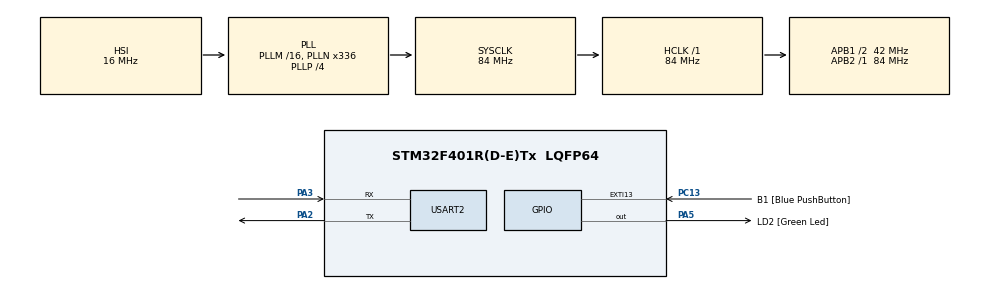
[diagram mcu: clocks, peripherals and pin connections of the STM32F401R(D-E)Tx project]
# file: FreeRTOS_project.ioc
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Mcu.Family=STM32F4
Mcu.Name=STM32F401R(D-E)Tx
Mcu.Package=LQFP64
NVIC.PriorityGroup=NVIC_PRIORITYGROUP_4
NVIC.TIM5_IRQn=true\:0\:0\:false\:false\:true\:false\:true\:true
NVIC.TimeBase=TIM5_IRQn
NVIC.TimeBaseIP=TIM5
PA13.GPIO_Label=TMS
PA13.Signal=SYS_JTMS-SWDIO
PA14.GPIO_Label=TCK
PA14.Signal=SYS_JTCK-SWCLK
PA2.GPIO_PuPd=GPIO_PULLUP
PA2.Mode=Asynchronous
PA2.Signal=USART2_TX
PA3.GPIO_ModeDefaultPP=GPIO_MODE_AF_PP
PA3.GPIO_PuPd=GPIO_PULLUP
PA3.Mode=Asynchronous
PA3.Signal=USART2_RX
PA5.GPIO_Label=LD2 [Green Led]
PA5.GPIO_Mode=GPIO_MODE_OUTPUT_PP
PA5.GPIO_PuPd=GPIO_NOPULL
PA5.GPIO_Speed=GPIO_SPEED_FREQ_LOW
PA5.Signal=GPIO_Output
PB3.GPIO_Label=SWO
PB3.Signal=SYS_JTDO-SWO
PC13-ANTI_TAMP.GPIO_Label=B1 [Blue PushButton]
PC13-ANTI_TAMP.GPIO_ModeDefaultEXTI=GPIO_MODE_IT_FALLING
PC13-ANTI_TAMP.GPIO_PuPd=GPIO_NOPULL
PC13-ANTI_TAMP.Signal=GPXTI13
PC14-OSC32_IN.Signal=RCC_OSC32_IN
PC15-OSC32_OUT.Signal=RCC_OSC32_OUT
PH0\ -\ OSC_IN.Signal=RCC_OSC_IN
PH1\ -\ OSC_OUT.Signal=RCC_OSC_OUT
ProjectManager.HeapSize=0x200
ProjectManager.StackSize=0x400
ProjectManager.TargetToolchain=STM32CubeIDE
RCC.AHBFreq_Value=84000000
RCC.APB1CLKDivider=RCC_HCLK_DIV2
RCC.APB1Freq_Value=42000000
RCC.APB1TimFreq_Value=84000000
RCC.APB2Freq_Value=84000000
RCC.APB2TimFreq_Value=84000000
RCC.CortexFreq_Value=84000000
RCC.HCLKFreq_Value=84000000
RCC.HSE_VALUE=8000000
RCC.HSI_VALUE=16000000
RCC.LSE_VALUE=32768
RCC.PLLN=336
RCC.PLLP=RCC_PLLP_DIV4
RCC.PLLQ=7
RCC.SYSCLKFreq_VALUE=84000000
RCC.SYSCLKSource=RCC_SYSCLKSOURCE_PLLCLK
RCC.VCOOutputFreq_Value=336000000
USART2.VirtualMode=VM_ASYNC
VP_SYS_VS_tim5.Mode=TIM5
board=NUCLEO-F401RE

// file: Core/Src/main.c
/* USER CODE BEGIN Header */
/**
  ******************************************************************************
  * @file           : main.c
  * @brief          : Main program body
  ******************************************************************************
  * @attention
  *
  * Copyright (c) 2023 STMicroelectronics.
  * All rights reserved.
  *
  * This software is licensed under terms that can be found in the LICENSE file
  * in the root directory of this software component.
  * If no LICENSE file comes with this software, it is provided AS-IS.
  *
  ******************************************************************************
  */
/* USER CODE END Header */
#include "main.h"

/* USER CODE BEGIN Includes */
#include <stdio.h>
#include <string.h>
#include "FreeRTOS.h"
#include "task.h"
#include "timers.h"
/* USER CODE END Includes */

/* USER CODE BEGIN PM */
#define CMD_OPT_NOT_USE                         0x00
#define CMD_OPT_EXISTCMD_MASK                   0x01
#define CMD_LENGTH_MAX							50 // bytes

/*! @brief Field type */
#define CMD_TYPE_GET                            0x00
#define CMD_TYPE_RES                            0x01
#define CMD_TYPE_SET                            0x02

/*! @brief Start of frame */
#define FRAME_SOF                               0xB1

/*! @brief Check xor init */
#define CXOR_INIT_VAL                           0xFF

#define CMD_ID_TRACKING_PERFORMANCE			    0x90

/* USER CODE END PM */

UART_HandleTypeDef huart2;

/* USER CODE BEGIN PV */
TaskHandle_t task1_handle = NULL;
TaskHandle_t task2_handle = NULL;
TaskHandle_t task3_handle = NULL;
TaskHandle_t task4_handle = NULL;
TaskHandle_t task5_handle = NULL;
TaskHandle_t task6_handle = NULL;
TaskHandle_t task7_handle = NULL;

uint8_t task1Delete_fg = 0;
uint8_t task2Delete_fg = 0;
uint8_t task3Delete_fg = 0;
uint8_t task4Delete_fg = 0;
uint8_t task5Delete_fg = 0;

uint32_t countTotal = 0;

/* USER CODE END PV */

void SystemClock_Config(void);
static void MX_GPIO_Init(void);
static void MX_USART2_UART_Init(void);
/* USER CODE BEGIN PFP */
static void task1_handler(void* parameters);
static void task2_handler(void* parameters);
static void task3_handler(void* parameters);
static void task4_handler(void* parameters);
static void task5_handler(void* parameters);
//static void task6_handler(void* parameters);
//static void task7_handler(void* parameters);
void Serial_SendPacket(uint8_t byOption,uint8_t byCmdId,uint8_t byType,uint8_t* pPayload,uint8_t byLengthPayload);
/* USER CODE END PFP */

/* USER CODE BEGIN 0 */
uint32_t day_fibonaci(uint32_t i)
{
   if(i == 0)
   {
      return 0;
   }
   if(i == 1)
   {
      return 1;
   }
   return day_fibonaci(i-1) + day_fibonaci(i-2);
}

uint32_t day_fibonaci2(uint32_t i)
{
   if(i == 0)
   {
      return 0;
   }
   if(i == 1)
   {
      return 1;
   }
   return day_fibonaci2(i-1) + day_fibonaci2(i-2);
}

uint32_t day_fibonaci3(uint32_t i)
{
   if(i == 0)
   {
      return 0;
   }
   if(i == 1)
   {
      return 1;
   }
   return day_fibonaci3(i-1) + day_fibonaci3(i-2);
}

uint32_t day_fibonaci4(uint32_t i)
{
   if(i == 0)
   {
      return 0;
   }
   if(i == 1)
   {
      return 1;
   }
   return day_fibonaci4(i-1) + day_fibonaci4(i-2);
}

uint32_t day_fibonaci5(uint32_t i)
{
   if(i == 0)
   {
      return 0;
   }
   if(i == 1)
   {
      return 1;
   }
   return day_fibonaci5(i-1) + day_fibonaci5(i-2);
}

size_t get_used_ram_size(void)
{
	uint32_t task1Stack = uxTaskGetStackHighWaterMark(task1_handle);
	uint32_t task2Stack = uxTaskGetStackHighWaterMark(task2_handle);
	uint32_t task3Stack = uxTaskGetStackHighWaterMark(task3_handle);
	uint32_t task4Stack = uxTaskGetStackHighWaterMark(task4_handle);
	uint32_t task5Stack = uxTaskGetStackHighWaterMark(task5_handle);

	uint32_t remainStack = (5 * configMINIMAL_STACK_SIZE) - (task1Stack + task2Stack + task3Stack + task4Stack + task5Stack); // + task6Stack + task7Stack);

	/* Calculate the total RAM used by the application */
	size_t xFreeHeapSize = xPortGetFreeHeapSize();
	size_t xRamUsed = configTOTAL_HEAP_SIZE - xFreeHeapSize + remainStack;

    return xRamUsed;
}

void vTimerCallback( TimerHandle_t xTimer )
{
	uint8_t byPayload[12] = {0};
	uint32_t ramUsed = get_used_ram_size();
	uint32_t tickTime = HAL_GetTick();

	// In log ra App sử dụng UART interface
	// Kiểu dữ liệu của các tham số countTotal, ramUsed, tickTime là 32 bit sắp xếp dữ liệu theo dạng Big Endiance
//	byPayload[0] = (countTotal >> 24) & 0xFF;
//	byPayload[1] = (countTotal >> 16) & 0xFF;
//	byPayload[2] = (countTotal >> 8) & 0xFF;
//	byPayload[3] = (countTotal & 0xFF);
//	byPayload[4] = (ramUsed >> 24) & 0xFF;
//	byPayload[5] = (ramUsed >> 16) & 0xFF;
//	byPayload[6] = (ramUsed >> 8) & 0xFF;
//	byPayload[7] = (ramUsed & 0xFF);
//	byPayload[8] = (tickTime >> 24) & 0xFF;
//	byPayload[9] = (tickTime >> 16) & 0xFF;
//	byPayload[10] = (tickTime >> 8) & 0xFF;
//	byPayload[11] = (tickTime & 0xFF);
//	Serial_SendPacket(CMD_OPT_NOT_USE, CMD_ID_TRACKING_PERFORMANCE, CMD_TYPE_RES, byPayload, sizeof(byPayload));

	// In log ra màn hình Console
	printf("c: %ld, r: %ld, t: %ld\n", countTotal, ramUsed, tickTime);

	// Waiting until bit flag delete to set 1
	if ((task1Delete_fg == 1) && (task2Delete_fg == 1) && (task3Delete_fg == 1) && (task4Delete_fg == 1) && (task5Delete_fg == 1))  {
		BaseType_t status;

		// Đặt lại cờ báo hiệu về chưa xóa task
		task1Delete_fg = 0;
		task2Delete_fg = 0;
		task3Delete_fg = 0;
		task4Delete_fg = 0;
		task5Delete_fg = 0;

		// Tạo lại các task khi đã xóa xong
		status = xTaskCreate(task1_handler, "Task_1", configMINIMAL_STACK_SIZE, NULL, 2, &task1_handle);

		// Kiểm tra trạng thái của task có được tạo thành công trên heap hay không?
		configASSERT(status == pdPASS);

		status = xTaskCreate(task2_handler, "Task_2", configMINIMAL_STACK_SIZE, NULL, 2, &task2_handle);

		configASSERT(status == pdPASS);

		status = xTaskCreate(task3_handler, "Task_3", configMINIMAL_STACK_SIZE, NULL, 2, &task3_handle);

		configASSERT(status == pdPASS);

		status = xTaskCreate(task4_handler, "Task_4", configMINIMAL_STACK_SIZE, NULL, 2, &task4_handle);

		configASSERT(status == pdPASS);

		status = xTaskCreate(task5_handler, "Task_5", configMINIMAL_STACK_SIZE, NULL, 2, &task5_handle);

		configASSERT(status == pdPASS);
	}
}

/* USER CODE END 0 */

int main(void)
{
	/* USER CODE BEGIN 1 */
	BaseType_t status;

	/* USER CODE END 1 */

	/* MCU Configuration--------------------------------------------------------*/

	/* Reset of all peripherals, Initializes the Flash interface and the Systick. */
	HAL_Init();

	/* Configure the system clock */
	SystemClock_Config();

	/* Initialize all configured peripherals */
	MX_GPIO_Init();
	MX_USART2_UART_Init();
	/* USER CODE BEGIN 2 */

	// Khởi tạo 5 task bằng lệnh create để đưa data của task vào heap
	status = xTaskCreate(task1_handler, "Task_1", configMINIMAL_STACK_SIZE, NULL, 2, &task1_handle);

	configASSERT(status == pdPASS);

	status = xTaskCreate(task2_handler, "Task_2", configMINIMAL_STACK_SIZE, NULL, 2, &task2_handle);

	configASSERT(status == pdPASS);

	status = xTaskCreate(task3_handler, "Task_3", configMINIMAL_STACK_SIZE, NULL, 2, &task3_handle);

	configASSERT(status == pdPASS);

	status = xTaskCreate(task4_handler, "Task_4", configMINIMAL_STACK_SIZE, NULL, 2, &task4_handle);

	configASSERT(status == pdPASS);

	status = xTaskCreate(task5_handler, "Task_5", configMINIMAL_STACK_SIZE, NULL, 2, &task5_handle);

	configASSERT(status == pdPASS);

//	status = xTaskCreate(task6_handler, "Task_6", 200, NULL, 2, &task6_handle);
//
//	configASSERT(status == pdPASS);
//
//	status = xTaskCreate(task7_handler, "Task_7", 200, NULL, 2, &task7_handle);
//
//	configASSERT(status == pdPASS);

	// Tạo ra timer 10ms để in log ra màn hình Console và sửa thành 15ms khi đưa log lên App
	TimerHandle_t xTimer = xTimerCreate( "Timer", pdMS_TO_TICKS( 10 ), pdTRUE, 0, vTimerCallback );
	if( xTimer == NULL ) {}
	xTimerStart( xTimer, 0 );

	// In ra giá trị RAM khi đã khởi các task nhưng các task chưa chạy
	printf("Init c: %ld, r: %ld, t: %ld\n", countTotal, (uint32_t)get_used_ram_size(), (uint32_t)HAL_GetTick());

	// start the freeRTOS scheduler
	vTaskStartScheduler();

	// if the control comes here, then the launch of the scheduler has failed
	// due to insufficient memory in heap

	/* USER CODE END 2 */

	/* Infinite loop */
	while (1)
	{

	}
}

void SystemClock_Config(void)
{
	RCC_OscInitTypeDef RCC_OscInitStruct = {0};
	RCC_ClkInitTypeDef RCC_ClkInitStruct = {0};

	/** Configure the main internal regulator output voltage
	*/
	__HAL_RCC_PWR_CLK_ENABLE();
	__HAL_PWR_VOLTAGESCALING_CONFIG(PWR_REGULATOR_VOLTAGE_SCALE2);

	/** Initializes the RCC Oscillators according to the specified parameters
	* in the RCC_OscInitTypeDef structure.
	*/
	RCC_OscInitStruct.OscillatorType = RCC_OSCILLATORTYPE_HSI;
	RCC_OscInitStruct.HSIState = RCC_HSI_ON;
	RCC_OscInitStruct.HSICalibrationValue = RCC_HSICALIBRATION_DEFAULT;
	RCC_OscInitStruct.PLL.PLLState = RCC_PLL_ON;
	RCC_OscInitStruct.PLL.PLLSource = RCC_PLLSOURCE_HSI;
	RCC_OscInitStruct.PLL.PLLM = 16;
	RCC_OscInitStruct.PLL.PLLN = 336;
	RCC_OscInitStruct.PLL.PLLP = RCC_PLLP_DIV4;
	RCC_OscInitStruct.PLL.PLLQ = 7;
	if (HAL_RCC_OscConfig(&RCC_OscInitStruct) != HAL_OK)
	{
		Error_Handler();
	}

	/** Initializes the CPU, AHB and APB buses clocks
	*/
	RCC_ClkInitStruct.ClockType = RCC_CLOCKTYPE_HCLK|RCC_CLOCKTYPE_SYSCLK
							  |RCC_CLOCKTYPE_PCLK1|RCC_CLOCKTYPE_PCLK2;
	RCC_ClkInitStruct.SYSCLKSource = RCC_SYSCLKSOURCE_PLLCLK;
	RCC_ClkInitStruct.AHBCLKDivider = RCC_SYSCLK_DIV1;
	RCC_ClkInitStruct.APB1CLKDivider = RCC_HCLK_DIV2;
	RCC_ClkInitStruct.APB2CLKDivider = RCC_HCLK_DIV1;

	if (HAL_RCC_ClockConfig(&RCC_ClkInitStruct, FLASH_LATENCY_2) != HAL_OK)
	{
		Error_Handler();
	}
}

static void MX_USART2_UART_Init(void)
{

	huart2.Instance = USART2;
	huart2.Init.BaudRate = 115200;
	huart2.Init.WordLength = UART_WORDLENGTH_8B;
	huart2.Init.StopBits = UART_STOPBITS_1;
	huart2.Init.Parity = UART_PARITY_NONE;
	huart2.Init.Mode = UART_MODE_TX_RX;
	huart2.Init.HwFlowCtl = UART_HWCONTROL_NONE;
	huart2.Init.OverSampling = UART_OVERSAMPLING_16;
	if (HAL_UART_Init(&huart2) != HAL_OK)
	{
	Error_Handler();
	}
}

static void MX_GPIO_Init(void)
{
	GPIO_InitTypeDef GPIO_InitStruct = {0};

	/* GPIO Ports Clock Enable */
	__HAL_RCC_GPIOC_CLK_ENABLE();
	__HAL_RCC_GPIOH_CLK_ENABLE();
	__HAL_RCC_GPIOA_CLK_ENABLE();
	__HAL_RCC_GPIOB_CLK_ENABLE();

	/*Configure GPIO pin Output Level */
	HAL_GPIO_WritePin(LD2_GPIO_Port, LD2_Pin, GPIO_PIN_RESET);

	/*Configure GPIO pin : B1_Pin */
	GPIO_InitStruct.Pin = B1_Pin;
	GPIO_InitStruct.Mode = GPIO_MODE_IT_FALLING;
	GPIO_InitStruct.Pull = GPIO_NOPULL;
	HAL_GPIO_Init(B1_GPIO_Port, &GPIO_InitStruct);

	/*Configure GPIO pin : LD2_Pin */
	GPIO_InitStruct.Pin = LD2_Pin;
	GPIO_InitStruct.Mode = GPIO_MODE_OUTPUT_PP;
	GPIO_InitStruct.Pull = GPIO_NOPULL;
	GPIO_InitStruct.Speed = GPIO_SPEED_FREQ_LOW;
	HAL_GPIO_Init(LD2_GPIO_Port, &GPIO_InitStruct);
}

/* USER CODE BEGIN 4 */
static void task1_handler(void* parameters)
{
	while(1)
	{
		uint32_t j = 1;
		for (uint32_t i = 1; i  < 5; i++) {
			j *= i;
		}
		vTaskDelay(pdMS_TO_TICKS( 10UL ));
		++countTotal;
		taskYIELD(); // Dùng để chuyển các task thực hiện

		// Xóa task khi đã thực hiện xong dãy fibonanci
//		vTaskDelete(task1_handle, &task1Delete_fg);
	}
}

static void task2_handler(void* parameters)
{
	while(1)
	{
		uint32_t j = 1;
		for (uint32_t i = 1; i  < 5; i++) {
			j *= i;
		}
		vTaskDelay(pdMS_TO_TICKS( 10UL ));
		++countTotal;
		taskYIELD();

//		vTaskDelete(task2_handle, &task2Delete_fg);
	}
}

static void task3_handler(void* parameters)
{
	while(1)
	{
		uint32_t j = 1;
		for (uint32_t i = 1; i  < 5; i++) {
			j *= i;
		}
		vTaskDelay(pdMS_TO_TICKS( 10UL ));
		++countTotal;
		taskYIELD();

//		vTaskDelete(task3_handle, &task3Delete_fg);
	}
}

static void task4_handler(void* parameters)
{
	while(1)
	{
		uint32_t j = 1;
		for (uint32_t i = 1; i  < 5; i++) {
			j *= i;
		}
		vTaskDelay(pdMS_TO_TICKS( 10UL ));
		++countTotal;
		taskYIELD();

//		vTaskDelete(task4_handle, &task4Delete_fg);
	}
}

static void task5_handler(void* parameters)
{
	while(1)
	{
		uint32_t j = 1;
		for (uint32_t i = 1; i  < 5; i++) {
			j *= i;
		}
		vTaskDelay(pdMS_TO_TICKS( 10UL ));
		++countTotal;
		taskYIELD();

//		vTaskDelete(task5_handle, &task5Delete_fg);
	}
}

//static void task6_handler(void* parameters)
//{
//	while(1)
//	{
//		for (uint32_t i = 0; i < 20; i++)
//		{
//		   day_fibonaci(i);
//		}
//
//		++countTotal;
//		taskYIELD();
//	}
//}
//
//static void task7_handler(void* parameters)
//{
//	while(1)
//	{
//		for (uint32_t i = 0; i < 20; i++)
//		{
//		   day_fibonaci(i);
//		}
//
//		++countTotal;
//		taskYIELD();
//	}
//}

/**
 * @func   CalculateCheckXOR
 * @brief  Calculate value XOR
 * @param  pbyTxBuffer:
           bySizeFrame: Size of frame
 * @retval check_XOR
 */
static uint8_t CalculateCheckXOR(uint8_t *pbyTxBuffer,uint8_t bySizeFrame)
{
    uint8_t byCXOR = CXOR_INIT_VAL;

    for (uint8_t byCntSize = 0; byCntSize < bySizeFrame; byCntSize++)
    {
        byCXOR ^= *pbyTxBuffer;
        pbyTxBuffer++;
    }
    return byCXOR;
}

/**
 * @func   Serial_SendPacket
 * @brief  Process transmit message uart
 * @param  byOption: Option
 * @param  byCmdId: Identify
 * @param  byType: Type
 * @param  pPayload: Payload
 * @param  byLengthPayload: Length payload
 * @retval None
 */
void
Serial_SendPacket(
    uint8_t byOption,
    uint8_t byCmdId,
    uint8_t byType,
    uint8_t* pPayload,
    uint8_t byLengthPayload
) {
    static uint8_t bySeq = 0;
    uint8_t byOffset = 0;
    uint8_t byBufferTx[CMD_LENGTH_MAX];
    uint8_t checkxor;

    byBufferTx[byOffset++] = FRAME_SOF;
    byBufferTx[byOffset++] = byLengthPayload + 5; /* Include: opt + id + type + seq + cxor */
    byBufferTx[byOffset++] = byOption;
    byBufferTx[byOffset++] = byCmdId;
    byBufferTx[byOffset++] = byType;

    for (uint8_t i = 0; i < byLengthPayload; i++) {
        byBufferTx[byOffset++] = pPayload[i];
    }

    byBufferTx[byOffset++] = bySeq++;
    checkxor = CalculateCheckXOR(&byBufferTx[2], byOffset - 2);
    byBufferTx[byOffset++] = checkxor;

    /* Send frame to Host via UART */
    HAL_UART_Transmit(&huart2, byBufferTx, byOffset, HAL_MAX_DELAY);
}

/* USER CODE END 4 */

void HAL_TIM_PeriodElapsedCallback(TIM_HandleTypeDef *htim)
{
	if (htim->Instance == TIM5) {
		HAL_IncTick();
	}
}

void Error_Handler(void)
{
	__disable_irq();
	while (1)
	{
	}
}
